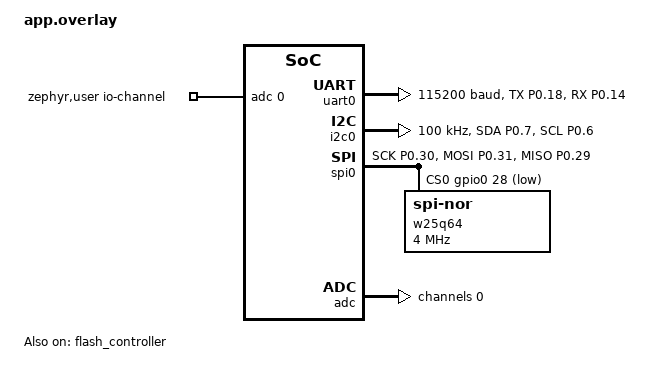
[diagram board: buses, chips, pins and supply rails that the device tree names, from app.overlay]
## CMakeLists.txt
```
# SPDX-License-Identifier: Apache-2.0

cmake_minimum_required(VERSION 3.20.0)

find_package(Zephyr REQUIRED)
project(blinky_3)

# 主源文件
target_sources(app PRIVATE src/main.c)

# 传感器模块
target_sources(app PRIVATE 
    src/sensors/aht30.c
    src/sensors/spl06.c
)

# 存储模块
target_sources(app PRIVATE 
    src/storage/w25q64.c
    src/storage/nvs_config.c
    src/storage/offline_clock.c
)

# 蓝牙模块
target_sources(app PRIVATE 
    src/ble/ble_adv.c
    src/ble/ble_services.c
    src/ble/ble_ota.c
)

# LED模块
target_sources(app PRIVATE src/led.c)

# 电池电压采样（当前发布 CONFIG_ADC=y；实际包含 SAADC 驱动与测量代码）
target_sources(app PRIVATE src/vdd.c)

# 添加包含目录
target_include_directories(app PRIVATE src)
```

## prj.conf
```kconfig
# 基础功能
CONFIG_GPIO=y

# 控制台：使用 RTT（J-Link），关闭 UART 控制台输出
CONFIG_SERIAL=y
CONFIG_CONSOLE=y
CONFIG_UART_CONSOLE=n
CONFIG_PRINTK=y

# I2C 配置 - AHT30 温湿度传感器
CONFIG_I2C=y
CONFIG_I2C_NRFX=y

# SPI 配置 - W25Q64 Flash存储器（SPI 实例由板级 overlay 通过 devicetree 启用）
CONFIG_SPI=y
CONFIG_SPI_NRFX=y

# UART 驱动（设备树 uart0 仍存在，仅控制台改为 RTT）
CONFIG_UART_ASYNC_API=n
CONFIG_UART_INTERRUPT_DRIVEN=y

# 日志配置（RTT 控制台，需 J-Link 连接）
CONFIG_LOG=n
CONFIG_USE_SEGGER_RTT=y
CONFIG_RTT_CONSOLE=y

# 内存优化
CONFIG_MAIN_STACK_SIZE=1024
CONFIG_IDLE_STACK_SIZE=128
CONFIG_SYSTEM_WORKQUEUE_STACK_SIZE=1024
CONFIG_ISR_STACK_SIZE=1024

# 禁用串口控制台 (大幅节省 RAM)
# CONFIG_SERIAL=n
# CONFIG_CONSOLE=n
# CONFIG_UART_CONSOLE=n

# 蓝牙栈内存优化 (BT_HCI_TX_STACK_SIZE 由 nRF 默认设为 1536，勿覆盖)
CONFIG_BT_RX_STACK_SIZE=1024

# 时钟配置
CONFIG_CLOCK_CONTROL_NRF_K32SRC_RC=y
CONFIG_CLOCK_CONTROL_NRF_K32SRC_XTAL=n
CONFIG_CLOCK_CONTROL_NRF_K32SRC_500PPM=y

# 蓝牙配置
CONFIG_BT=y
CONFIG_BT_PERIPHERAL=y
CONFIG_BT_DEVICE_NAME="PandaTemp"
CONFIG_BT_DEVICE_NAME_DYNAMIC=y
CONFIG_BT_DEVICE_NAME_MAX=32
CONFIG_BT_MAX_CONN=1
CONFIG_BT_MAX_PAIRED=0
CONFIG_BT_SMP=n
CONFIG_BT_BONDABLE=n
CONFIG_BT_BUF_ACL_RX_SIZE=69
CONFIG_BT_BUF_ACL_TX_SIZE=69
CONFIG_BT_BUF_ACL_TX_COUNT=10
CONFIG_BT_BUF_EVT_RX_COUNT=16
CONFIG_BT_L2CAP_TX_BUF_COUNT=10
CONFIG_BT_L2CAP_TX_MTU=65
CONFIG_BT_BUF_CMD_TX_SIZE=65
CONFIG_BT_GATT_CACHING=n
CONFIG_BT_GAP_AUTO_UPDATE_CONN_PARAMS=n
CONFIG_BT_GATT_ENFORCE_SUBSCRIPTION=n
CONFIG_BT_ATT_PREPARE_COUNT=0

# 电源管理（nRF52 系列 52810/52832 等在 NCS 中均未选 HAS_PM，CONFIG_PM 依赖不满足，勿强制 =y）
# CONFIG_PM=y
# CONFIG_PM_DEVICE=y
#
# 【如何打开】
# 1) 换板子时：若新板子/SoC 在 NCS 中已选 HAS_PM（非 nRF52 或后续 NCS 若开放），在 prj.conf 取消上面两行注释即可。
# 2) 当前板子要打开：先确认依赖——CONFIG_PM 依赖 SYS_CLOCK_EXISTS 与 HAS_PM（SoC 提供低功耗钩子）。
#    - 在 build 目录执行：ninja menuconfig → Subsystems and OS → Power Management，查看依赖是否满足。
#    - 若 HAS_PM 未选：在板级 conf（如 boards/<板名>.conf）或 SoC 层添加 select HAS_PM（需改 NCS 板级/SoC 树）。
# 3) 仅要系统级低功耗（k_sleep 进低功耗）：只启用 CONFIG_PM=y；CONFIG_PM_DEVICE 可选。
# 4) 启用 CONFIG_PM_DEVICE 时：app.overlay 中已对 i2c0/adc/flash 删除 zephyr,pm-device-runtime-auto，可避免链接错误。

# DCDC 转换器（降低射频功耗约40%）
# 注意：nrf52dk_nrf52810.dts 已默认启用 DCDC (regulator-initial-mode = NRF5X_REG_MODE_DCDC)

# Flash 配置
CONFIG_FLASH=y
CONFIG_FLASH_PAGE_LAYOUT=y
CONFIG_FLASH_MAP=y
CONFIG_SOC_FLASH_NRF=y

# NVS 配置（配置 + W25Q64 位置存芯片 FLASH，定时 flush）
CONFIG_NVS=y
# CONFIG_SETTINGS=y
# 注意：CONFIG_NVS_LOG_LEVEL 由 Zephyr 日志子系统间接提供，不可在 prj.conf 中直接设置；
# 且当前 CONFIG_LOG=n，NVS 日志已随全局日志关闭。
# NVS 写内部 Flash 时需允许 MPU 写，否则可能 MPU FAULT
CONFIG_MPU_ALLOW_FLASH_WRITE=y
```

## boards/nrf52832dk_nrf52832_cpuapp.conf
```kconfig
# nRF52832 上 W25Q64 使用 SPI1，显式启用 SPI 实例 1
CONFIG_SPI_1=y
```

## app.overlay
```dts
/* NRF_SAADC_VDD 等 SAADC 输入宏（电池电压采样用） */
#include <zephyr/dt-bindings/adc/nrf-saadc.h>

/ {
	aliases {
		/* 当前52810使用此SPI；旧52832配置仅作历史归档 */
		w25q64-spi = &spi0;
	};
	chosen {
		zephyr,console = &uart0;
		zephyr,shell-uart = &uart0;
		nordic,pm-ext-flash = &w25q64;
	};
	zephyr,user {
		/* 通道 0 = 电池电压（见文件末尾 &adc） */
		io-channels = <&adc 0>;
	};
};

&uart0 {
	status = "okay";
	current-speed = <115200>;
	pinctrl-0 = <&uart0_default_custom>;
	pinctrl-1 = <&uart0_sleep_custom>;
	pinctrl-names = "default", "sleep";
};

&pinctrl {
	uart0_default_custom: uart0_default_custom {
		group1 {
			psels = <NRF_PSEL(UART_TX, 0, 18)>,
			        <NRF_PSEL(UART_RX, 0, 14)>;
		};
	};

	uart0_sleep_custom: uart0_sleep_custom {
		group1 {
			psels = <NRF_PSEL(UART_TX, 0, 18)>,
			        <NRF_PSEL(UART_RX, 0, 14)>;
			low-power-enable;
		};
	};

	i2c0_default_custom: i2c0_default_custom {
		group1 {
			psels = <NRF_PSEL(TWIM_SDA, 0, 7)>,
			        <NRF_PSEL(TWIM_SCL, 0, 6)>;
			bias-pull-up;
		};
	};

	i2c0_sleep_custom: i2c0_sleep_custom {
		group1 {
			psels = <NRF_PSEL(TWIM_SDA, 0, 7)>,
			        <NRF_PSEL(TWIM_SCL, 0, 6)>;
			low-power-enable;
			bias-pull-up;
		};
	};

	/*
	 * W25Q64 SPI0 pinctrl: SCK=P0.30, MOSI=P0.31, MISO=P0.29.
	 *
	 * These states MUST live in this file.  Zephyr's
	 * configuration_files.cmake stops looking for `app.overlay` as soon as
	 * it finds a matching `boards/<board>_<soc>.overlay`, so SPI0 used to
	 * silently fall back to the nRF52 DK defaults (SCK=P0.29, MISO=P0.30,
	 * no cs-gpios) whenever the pin config was moved into boards/.
	 */
	spi0_default_custom: spi0_default_custom {
		group1 {
			psels = <NRF_PSEL(SPIM_SCK, 0, 30)>,
			        <NRF_PSEL(SPIM_MOSI, 0, 31)>,
			        <NRF_PSEL(SPIM_MISO, 0, 29)>;
			bias-pull-down;
		};
	};

	spi0_sleep_custom: spi0_sleep_custom {
		group1 {
			psels = <NRF_PSEL(SPIM_SCK, 0, 30)>,
			        <NRF_PSEL(SPIM_MOSI, 0, 31)>,
			        <NRF_PSEL(SPIM_MISO, 0, 29)>;
			low-power-enable;
			bias-pull-down;
		};
	};
};

&uicr {
	/delete-property/ gpio-as-nreset;
};

&i2c0 {
	status = "okay";
	compatible = "nordic,nrf-twim";
	pinctrl-0 = <&i2c0_default_custom>;
	pinctrl-1 = <&i2c0_sleep_custom>;
	pinctrl-names = "default", "sleep";
	clock-frequency = <I2C_BITRATE_STANDARD>;
	/delete-property/ zephyr,pm-device-runtime-auto;
};

/* SPI0 - W25Q64 Flash（nRF52810 只有一组 SPI，与 I2C 不冲突）
 * 注意：引脚与 CS 必须写在本文件内，原因见上方 spi0_default_custom 的注释。
 * 旧nRF52832的SPI1方案已归档于docs/archive/boards/，不属于当前构建入口。
 */

&spi0 {
	status = "okay";
	compatible = "nordic,nrf-spim";
	pinctrl-0 = <&spi0_default_custom>;
	pinctrl-1 = <&spi0_sleep_custom>;
	pinctrl-names = "default", "sleep";
	cs-gpios = <&gpio0 28 GPIO_ACTIVE_LOW>;
	/delete-property/ zephyr,pm-device-runtime-auto;

	w25q64: w25q64@0 {
		compatible = "jedec,spi-nor";
		status = "okay";
		reg = <0>;
		spi-max-frequency = <4000000>;
		size = <0x4000000>;
		jedec-id = [ef 40 17];
		/* A soft reset does not wake a W25Q64 left in deep power-down.
		 * Keep this in sync with sysbuild/mcuboot.overlay.
		 */
		has-dpd;
		t-exit-dpd = <3000>;
	};
};

/*
 * 电池电压采样：SAADC 内部 VDD 通道，**不需要任何外部电路**。
 *
 * 板子没有电压分压/采样电路，但 nRF52810 的 SAADC 能直接测 VDD：
 *   内部基准 0.6 V + 增益 1/6 → 量程 3.6 V（覆盖模块工作电压 1.7~3.6 V）
 *   换算：mV = raw * 3600 / 4096（12 bit，见 src/vdd.c）
 * 前提：VCC 直接由电池供电（无 LDO/稳压），否则测到的是稳压值而非电池电压。
 *
 * 驱动在每次转换完成后会 nrfy_saadc_disable()，空闲不耗电。
 */
&adc {
	status = "okay";
	/delete-property/ zephyr,pm-device-runtime-auto;
	#address-cells = <1>;
	#size-cells = <0>;

	channel@0 {
		reg = <0>;
		zephyr,gain = "ADC_GAIN_1_6";
		zephyr,reference = "ADC_REF_INTERNAL";
		zephyr,acquisition-time = <ADC_ACQ_TIME_DEFAULT>;
		zephyr,input-positive = <NRF_SAADC_VDD>;
		zephyr,resolution = <12>;
	};
};

&flash_controller {
	status = "okay";
};

&flash0 {
	status = "okay";
	/delete-property/ zephyr,pm-device-runtime-auto;

	/* MCUboot + PM 布局：内部只保留 primary app，不再放 NVS */
	/delete-node/ partitions;

	partitions {
		compatible = "fixed-partitions";
		#address-cells = <1>;
		#size-cells = <1>;

		/* Primary app (0x8200 - 0x30000) */
		slot0_partition: partition@8200 {
			label = "image-0";
			reg = <0x00008200 0x00027E00>;
		};
	};
};
```

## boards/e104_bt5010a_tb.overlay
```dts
/* SPDX-License-Identifier: Apache-2.0 */
/* Reference only; current release uses nrf52dk/nrf52810 + app.overlay. */
/* E104-BT5010A (nRF52810) 板级 overlay：W25Q64 使用 SPI0，引脚 30/31/29，CS 28 */

/ {
	aliases {
		w25q64-spi = &spi0;
	};
};

&pinctrl {
	spi0_default_custom: spi0_default_custom {
		group1 {
			psels = <NRF_PSEL(SPIM_SCK, 0, 30)>,
			        <NRF_PSEL(SPIM_MOSI, 0, 31)>,
			        <NRF_PSEL(SPIM_MISO, 0, 29)>;
			bias-pull-down;
		};
	};
	spi0_sleep_custom: spi0_sleep_custom {
		group1 {
			psels = <NRF_PSEL(SPIM_SCK, 0, 30)>,
			        <NRF_PSEL(SPIM_MOSI, 0, 31)>,
			        <NRF_PSEL(SPIM_MISO, 0, 29)>;
			low-power-enable;
			bias-pull-down;
		};
	};
};

&spi0 {
	status = "okay";
	compatible = "nordic,nrf-spim";
	pinctrl-0 = <&spi0_default_custom>;
	pinctrl-1 = <&spi0_sleep_custom>;
	pinctrl-names = "default", "sleep";
	cs-gpios = <&gpio0 28 GPIO_ACTIVE_LOW>;
	/delete-property/ zephyr,pm-device-runtime-auto;
};
```

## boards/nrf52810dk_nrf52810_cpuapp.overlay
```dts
/* SPDX-License-Identifier: Apache-2.0 */

/*
 * WARNING: this file is NOT used by any build.
 *
 * The board target is `nrf52dk/nrf52810`; Zephyr hwmv2 only looks for
 * `<board>_<soc>.overlay` (i.e. `nrf52dk_nrf52810.overlay`).  There is no
 * `nrf52810dk` board, so this file is never applied — which is why SPI0 kept
 * running on the nRF52 DK default pins.  All board pin configuration for the
 * current target now lives in `app.overlay`; do not "fix" this by renaming it,
 * because a matching `boards/*.overlay` silently replaces `app.overlay`
 * (see cmake/modules/configuration_files.cmake).
 */

/ {
	
	chosen {
		/* 确保 console 使用 UART0 */
		zephyr,console = &uart0;
	};

};

/* 配置 UART0 - 参考 RIOT-2020.10-RC3 periph_conf.h */
/* E104-BT5010A: UART 映射到 USB 虚拟 COM 端口 */
/* 使用 pinctrl 方式配置引脚：P0.18 (TX), P0.14 (RX) */
&uart0 {
	status = "okay";
	current-speed = <115200>;
	pinctrl-0 = <&uart0_default_custom>;
	pinctrl-1 = <&uart0_sleep_custom>;
	pinctrl-names = "default", "sleep";
};

/* 自定义 UART0 pinctrl 配置 - 覆盖默认配置 */
&pinctrl {
	uart0_default_custom: uart0_default_custom {
		group1 {
			psels = <NRF_PSEL(UART_TX, 0, 18)>,  /* P0.18 - TXD */
			        <NRF_PSEL(UART_RX, 0, 14)>;  /* P0.14 - RXD */
		};
	};

	uart0_sleep_custom: uart0_sleep_custom {
		group1 {
			psels = <NRF_PSEL(UART_TX, 0, 18)>,  /* P0.18 - TXD */
			        <NRF_PSEL(UART_RX, 0, 14)>;  /* P0.14 - RXD */
			low-power-enable;
		};
	};

	/* W25Q64 SPI0 pinctrl：SLK 30, MOSI 31, MISO 29 */
	spi0_default_custom: spi0_default_custom {
		group1 {
			psels = <NRF_PSEL(SPIM_SCK, 0, 30)>,
			        <NRF_PSEL(SPIM_MOSI, 0, 31)>,
			        <NRF_PSEL(SPIM_MISO, 0, 29)>;
			bias-pull-down;
		};
	};
	spi0_sleep_custom: spi0_sleep_custom {
		group1 {
			psels = <NRF_PSEL(SPIM_SCK, 0, 30)>,
			        <NRF_PSEL(SPIM_MOSI, 0, 31)>,
			        <NRF_PSEL(SPIM_MISO, 0, 29)>;
			low-power-enable;
			bias-pull-down;
		};
	};
};

/* SPI0 - W25Q64 Flash（52810 仅有一组 SPI，与 I2C 不冲突） */
&spi0 {
	status = "okay";
	compatible = "nordic,nrf-spim";
	pinctrl-0 = <&spi0_default_custom>;
	pinctrl-1 = <&spi0_sleep_custom>;
	pinctrl-names = "default", "sleep";
	cs-gpios = <&gpio0 28 GPIO_ACTIVE_LOW>;
	/delete-property/ zephyr,pm-device-runtime-auto;
};

/* 删除 gpio-as-nreset 属性，因为 CONFIG_GPIO_AS_PINRESET=n */
/* E104-BT5010A 不需要使用 GPIO 作为复位引脚 */
&uicr {
	/delete-property/ gpio-as-nreset;
};
```

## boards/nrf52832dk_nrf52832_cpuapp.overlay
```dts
/* SPDX-License-Identifier: Apache-2.0 */
/* nRF52832 板级 overlay - 与 E104-BT5010A 相同引脚：UART 18/14, I2C 6/7, SPI 30/31/29, CS 28
 * 注意：52832 上 i2c0 与 spi0 共用 0x40003000，只能二选一，故 W25Q64 使用 spi1 (0x40004000)。 */

/ {
	aliases {
		/* 52832 上 I2C0 与 SPI0 共用基址，W25Q64 改用 SPI1 */
		w25q64-spi = &spi1;
	};
	chosen {
		zephyr,console = &uart0;
		zephyr,shell-uart = &uart0;
	};
};

&uart0 {
	status = "okay";
	current-speed = <4800>;
	pinctrl-0 = <&uart0_default_custom>;
	pinctrl-1 = <&uart0_sleep_custom>;
	pinctrl-names = "default", "sleep";
};

&pinctrl {
	uart0_default_custom: uart0_default_custom {
		group1 {
			psels = <NRF_PSEL(UART_TX, 0, 18)>,
			        <NRF_PSEL(UART_RX, 0, 14)>;
		};
	};

	uart0_sleep_custom: uart0_sleep_custom {
		group1 {
			psels = <NRF_PSEL(UART_TX, 0, 18)>,
			        <NRF_PSEL(UART_RX, 0, 14)>;
			low-power-enable;
		};
	};

	i2c0_default_custom: i2c0_default_custom {
		group1 {
			psels = <NRF_PSEL(TWIM_SDA, 0, 7)>,
			        <NRF_PSEL(TWIM_SCL, 0, 6)>;
			bias-pull-up;
		};
	};

	i2c0_sleep_custom: i2c0_sleep_custom {
		group1 {
			psels = <NRF_PSEL(TWIM_SDA, 0, 7)>,
			        <NRF_PSEL(TWIM_SCL, 0, 6)>;
			low-power-enable;
			bias-pull-up;
		};
	};

	/* SPI1 用于 W25Q64（52832 上 SPI0 与 I2C0 共用基址，故用 SPI1）；port 0 引脚 30/31/29 */
	spi1_default_custom: spi1_default_custom {
		group1 {
			psels = <NRF_PSEL(SPIM_SCK, 0, 30)>,
			        <NRF_PSEL(SPIM_MOSI, 0, 31)>,
			        <NRF_PSEL(SPIM_MISO, 0, 29)>;
			bias-pull-down;
		};
	};

	spi1_sleep_custom: spi1_sleep_custom {
		group1 {
			psels = <NRF_PSEL(SPIM_SCK, 0, 30)>,
			        <NRF_PSEL(SPIM_MOSI, 0, 31)>,
			        <NRF_PSEL(SPIM_MISO, 0, 29)>;
			low-power-enable;
			bias-pull-down;
		};
	};
};

&uicr {
	/delete-property/ gpio-as-nreset;
};

/* 必须禁用 SPI0，否则与 I2C0 冲突（app.overlay 里默认启用了 spi0） */
&spi0 {
	status = "disabled";
};

&i2c0 {
	status = "okay";
	compatible = "nordic,nrf-twim";
	pinctrl-0 = <&i2c0_default_custom>;
	pinctrl-1 = <&i2c0_sleep_custom>;
	pinctrl-names = "default", "sleep";
	clock-frequency = <I2C_BITRATE_STANDARD>;
	/delete-property/ zephyr,pm-device-runtime-auto;
};

/* 使用 SPI1 避免与 I2C0 冲突（52832 上 0 号外设只能 I2C 或 SPI 二选一） */
&spi1 {
	status = "okay";
	compatible = "nordic,nrf-spim";
	pinctrl-0 = <&spi1_default_custom>;
	pinctrl-1 = <&spi1_sleep_custom>;
	pinctrl-names = "default", "sleep";
	cs-gpios = <&gpio0 28 GPIO_ACTIVE_LOW>;
	/delete-property/ zephyr,pm-device-runtime-auto;
	
	/* W25Q64 Flash 设备节点 */
	w25q64: w25q64@0 {
		compatible = "jedec,spi-nor";
		reg = <0>;
		spi-max-frequency = <4000000>;  /* 降低到 4MHz 提高稳定性 */
		jedec-id = [ef 40 17];
		size = <67108864>;  /* 64 Mbit = 8 MB */
		has-dpd;
		t-enter-dpd = <3000>;
		t-exit-dpd = <30000>;
	};
};

&adc {
	/delete-property/ zephyr,pm-device-runtime-auto;
};

&flash_controller {
	status = "okay";
};

/* nRF52832 512KB Flash 分区 */
&flash0 {
	status = "okay";
	/delete-property/ zephyr,pm-device-runtime-auto;

	/delete-node/ partitions;

	partitions {
		compatible = "fixed-partitions";
		#address-cells = <1>;
		#size-cells = <1>;

		/* Application (0x0 - 0x78000: 480KB) */
		slot0_partition: partition@0 {
			label = "image-0";
			reg = <0x00000000 0x00078000>;
		};

		/* NVS Storage (0x78000 - 0x7B000: 12KB) */
		nvs_partition: partition@78000 {
			label = "nvs_storage";
			reg = <0x00078000 0x00003000>;
		};
	};
};
```

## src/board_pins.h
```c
/**
 * @file board_pins.h
 * @brief E104-BT5010A 开发板引脚配置中心
 * 
 * 本文件集中定义所有 GPIO 引脚，便于硬件移植和维护
 * 
 * 硬件版本: E104-BT5010A (nRF52810)
 * 参考: RIOT-2020.10-RC3 boards/e104-bt5010a-tb
 */

#ifndef BOARD_PINS_H_
#define BOARD_PINS_H_

#ifdef __cplusplus
extern "C" {
#endif

/* ========== LED 指示灯引脚 ========== */
/* LED 为低电平有效（低电平点亮，高电平熄灭）*/
#define PIN_LED_DATA       4   /* P0.4 - 数据指示灯 */
#define PIN_LED_LINK       5    /* P0.5 - 蓝牙连接指示灯 */

/* ========== I2C0 传感器总线引脚 ========== */
/* 连接设备: AHT30/SHT40 温湿度传感器, SPL06 气压传感器, LTR-390UV 紫外线传感器 */
/* 配置在 overlay 文件中，此处仅作文档记录 */
#define PIN_I2C0_SCL       6   /* P0.6 - I2C 时钟线 */
#define PIN_I2C0_SDA       7   /* P0.7 - I2C 数据线 */

/* ========== UART0 调试串口引脚 ========== */
/* 配置在 overlay 文件中，此处仅作文档记录 */
#define PIN_UART0_TX       18  /* P0.18 - 串口发送 */
#define PIN_UART0_RX       14  /* P0.14 - 串口接收 */

/* ========== SPI0 Flash 存储引脚 ========== */
/* W25Q64 8MB SPI Flash，用于历史数据存储 */
/* SCK/MOSI/MISO 配置在 overlay 文件中，CS 由驱动控制 */
#define PIN_SPI0_CS        28  /* P0.28 - W25Q64 片选，低电平有效 */
#define PIN_SPI0_MISO      29  /* P0.29 - SPI 数据输出 */
#define PIN_SPI0_SCK       30  /* P0.30 - SPI 时钟 */
#define PIN_SPI0_MOSI      31  /* P0.31 - SPI 数据输入 */

/* ========== 引脚功能汇总表 ========== */
/*
 * GPIO  | 功能          | 方向 | 说明
 * ------|---------------|------|----------------------------------
 * P0.4  | DATA LED      | 输出 | 数据指示灯，低电平点亮
 * P0.5  | LINK LED      | 输出 | 蓝牙连接指示灯，低电平点亮
 * P0.6  | I2C0 SCL      | 双向 | I2C 时钟线（AHT30/SHT40/SPL06/LTR390）
 * P0.7  | I2C0 SDA      | 双向 | I2C 数据线（AHT30/SHT40/SPL06/LTR390）
 * P0.14 | UART0 RX      | 输入 | 串口接收（调试用）
 * P0.18 | UART0 TX      | 输出 | 串口发送（调试用）
 * P0.28 | W25Q64 CS     | 输出 | SPI Flash 片选，低电平有效
 * P0.29 | W25Q64 MISO   | 输入 | SPI Flash 数据输出
 * P0.30 | W25Q64 SCK    | 输出 | SPI Flash 时钟
 * P0.31 | W25Q64 MOSI   | 输出 | SPI Flash 数据输入
 */

/* ========== 硬件版本标识 ========== */
#define BOARD_NAME         "E104-BT5010A"
#define BOARD_VERSION      "1.1.3"
#define MCU_MODEL          "nRF52832"

#ifdef __cplusplus
}
#endif

#endif /* BOARD_PINS_H_ */
```

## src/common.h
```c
/**
 * @file common.h
 * @brief 公共数据类型定义
 */

#ifndef COMMON_H_
#define COMMON_H_

#include <zephyr/kernel.h>
#include <stdbool.h>
#include <stdint.h>

#ifdef __cplusplus
extern "C" {
#endif

/* RAM 缓冲区大小 */
#define RAM_BUFFER_SIZE 5

/**
 * @brief 数据记录结构
 */
struct data_record {
	uint32_t timestamp;          /* Unix时间戳（秒）*/
	int16_t temperature;         /* 温度（0.01°C）*/
	uint16_t humidity;           /* 湿度（0.01%RH）*/
	uint32_t pressure_centihpa;  /* 气压（Pa，单位0.01hPa）*/
} __packed;

/**
 * @brief 历史数据传输上下文（结构体封装优化）
 * 
 * 优化前：约8个分散的静态全局变量
 * 优化后：统一封装到一个结构体中
 */
typedef struct {
	uint16_t sector;              /* 当前传输扇区 */
	uint16_t record_idx;          /* 当前扇区内的记录索引 */
	uint32_t start_timestamp;     /* 起始时间戳（0表示发送全部数据）*/
	bool active;                  /* 传输是否进行中 */
	bool binary_search_done;      /* 二分查找是否已完成 */
	uint32_t total_sent_packets;  /* 累计发送包数 */
	uint32_t total_sent_records;  /* 累计发送记录数 */
	uint32_t last_sent_timestamp; /* 上一条发送记录的时间戳 */
	bool sending;                 /* 是否有在途的历史通知 */
	uint8_t tx_buf[60];           /* 历史数据发送缓冲区 */
} history_transfer_ctx_t;

/**
 * @brief 时间同步上下文
 */
typedef struct {
	uint32_t base_timestamp;      /* 基准时间戳（Unix 时间戳，秒）*/
	int64_t base_uptime;          /* 基准时间对应的系统运行时间（毫秒）*/
	bool synced;                  /* 时间是否已同步 */
} time_sync_ctx_t;

/**
 * @brief 清空数据上下文
 */
typedef struct {
	bool in_progress;             /* 清空数据进行中标志 */
	uint16_t progress;            /* 当前进度（扇区号）*/
	uint16_t erased_count;        /* 成功擦除扇区数 */
	uint16_t failed_count;        /* 失败扇区数 */
} clear_data_ctx_t;

/**
 * @brief 蓝牙状态上下文
 */
typedef struct {
	bool connected;               /* 是否已连接 */
	bool ready;                   /* 蓝牙是否就绪 */
} bt_state_ctx_t;

#ifdef __cplusplus
}
#endif

#endif /* COMMON_H_ */
```

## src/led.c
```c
/**
 * @file led.c
 * @brief LED 指示灯控制
 */

#include "led.h"
#include <zephyr/sys/printk.h>

/* 工作队列声明 */
static struct k_work_delayable link_blink_work;
static struct k_work_delayable data_blink_work;
static struct k_work_delayable data_led_off_work;

/* 蓝牙状态标志（由外部设置）*/
static bool bt_ready_flag = false;
static bool bt_connected_flag = false;

/* DATA灯闪烁计数 */
static int data_blink_count = 0;

/* LINK灯闪烁工作函数（低功耗模式：不再闪烁）*/
static void link_blink_work_handler(struct k_work *work)
{
	/* 低功耗优化：未连接时不再闪烁LED，保持熄灭 */
	/* 只有蓝牙连接时才点亮LINK LED（由 bt_connected_cb 控制）*/
	(void)work;
}

/* DATA灯闪烁工作函数（时间同步指示）*/
static void data_blink_work_handler(struct k_work *work)
{
	data_blink_count++;
	
	/* 闪烁3次后停止 */
	if (data_blink_count < 6) {  /* 3次闪烁 = 6次状态切换 */
		led_toggle(DATA_LED_MASK);
		k_work_schedule(&data_blink_work, K_MSEC(DATA_BLINK_MS));
	} else {
		data_blink_count = 0;
		led_off(DATA_LED_MASK);
	}
}

/* DATA LED熄灭工作函数（用于温湿度数据指示）*/
static void data_led_off_work_handler(struct k_work *work)
{
	led_off(DATA_LED_MASK);
}

/* 初始化 LED GPIO */
void led_init(void)
{
	/* 配置 LED GPIO 为输出模式 */
	nrf_gpio_cfg_output(DATA_LED_PIN);
	nrf_gpio_cfg_output(LINK_LED_PIN);
	
	/* 初始化时所有 LED 熄灭（高电平）*/
	led_off(LED_MASK);
	
	/* 初始化工作队列 */
	k_work_init_delayable(&link_blink_work, link_blink_work_handler);
	k_work_init_delayable(&data_blink_work, data_blink_work_handler);
	k_work_init_delayable(&data_led_off_work, data_led_off_work_handler);
	
	printk("[LED] GPIO 初始化完成 (DATA: P0.%d, LINK: P0.%d)\r\n", 
	       DATA_LED_PIN, LINK_LED_PIN);
}

/* 设置蓝牙就绪状态 */
void led_set_bt_ready(bool ready)
{
	bt_ready_flag = ready;
}

/* 设置蓝牙连接状态 */
void led_set_bt_connected(bool connected)
{
	bt_connected_flag = connected;
}

/* Called once before Bluetooth starts; no extra timer, work item or thread. */
void led_show_power_on(void)
{
	for (unsigned int pulse = 0; pulse < 6U; ++pulse) {
		led_on(LINK_LED_MASK);
		k_msleep(250);
		led_off(LINK_LED_MASK);
		k_msleep(250);
	}
}

/* 启动 LINK 灯闪烁 */
void led_start_link_blink(void)
{
	k_work_schedule(&link_blink_work, K_MSEC(LINK_BLINK_MS));
}

/* 停止 LINK 灯闪烁 */
void led_stop_link_blink(void)
{
	k_work_cancel_delayable(&link_blink_work);
}

/* 启动 DATA 灯闪烁 */
void led_start_data_blink(void)
{
	k_work_cancel_delayable(&data_blink_work);
	led_off(DATA_LED_MASK);  /* 先熄灭 */
	data_blink_count = 0;    /* 重置计数器 */
	k_work_schedule(&data_blink_work, K_MSEC(DATA_BLINK_MS));
}

/* DATA LED 短暂点亮指示 */
void led_data_flash(void)
{
	led_on(DATA_LED_MASK);
	k_work_schedule(&data_led_off_work, K_MSEC(50));  /* 50ms后熄灭 */
}
```

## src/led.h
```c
/**
 * @file led.h
 * @brief LED 指示灯控制头文件
 * 
 * LED 为低电平有效（低电平点亮，高电平熄灭）
 */

#ifndef LED_H_
#define LED_H_

#include <zephyr/kernel.h>
#include <hal/nrf_gpio.h>
#include "board_pins.h"

#ifdef __cplusplus
extern "C" {
#endif

/* LED 引脚定义（引用 board_pins.h）*/
#define DATA_LED_PIN       PIN_LED_DATA
#define LINK_LED_PIN       PIN_LED_LINK

#define LED_PORT           NRF_P0
#define DATA_LED_MASK      (1UL << DATA_LED_PIN)
#define LINK_LED_MASK      (1UL << LINK_LED_PIN)
#define LED_MASK           (DATA_LED_MASK | LINK_LED_MASK)

/* 闪烁间隔定义 */
#define LINK_BLINK_MS      500  /* LINK灯闪烁间隔500毫秒 */
#define DATA_BLINK_MS      100  /* DATA灯闪烁间隔100毫秒（时间同步指示）*/

/**
 * @brief 初始化 LED GPIO
 */
void led_init(void);

/**
 * @brief 点亮 LED（低电平有效）
 * @param mask LED 掩码
 */
static inline void led_on(uint32_t mask)
{
	LED_PORT->OUTCLR = mask;
}

/**
 * @brief 熄灭 LED（高电平熄灭）
 * @param mask LED 掩码
 */
static inline void led_off(uint32_t mask)
{
	LED_PORT->OUTSET = mask;
}

/**
 * @brief 翻转 LED 状态
 * @param mask LED 掩码
 */
static inline void led_toggle(uint32_t mask)
{
	LED_PORT->OUT ^= mask;
}

/**
 * @brief 应用启动时 LINK 灯闪烁 3 秒，结束后熄灭；仅在蓝牙启动前调用
 */
void led_show_power_on(void);

/**
 * @brief 启动 LINK 灯闪烁
 */
void led_start_link_blink(void);

/**
 * @brief 停止 LINK 灯闪烁
 */
void led_stop_link_blink(void);

/**
 * @brief 启动 DATA 灯闪烁（时间同步指示，闪烁3次）
 */
void led_start_data_blink(void);

/**
 * @brief DATA LED 短暂点亮指示（数据更新）
 */
void led_data_flash(void);

/**
 * @brief 设置蓝牙就绪状态
 * @param ready 是否就绪
 */
void led_set_bt_ready(bool ready);

/**
 * @brief 设置蓝牙连接状态
 * @param connected 是否已连接
 */
void led_set_bt_connected(bool connected);

#ifdef __cplusplus
}
#endif

#endif /* LED_H_ */
```
